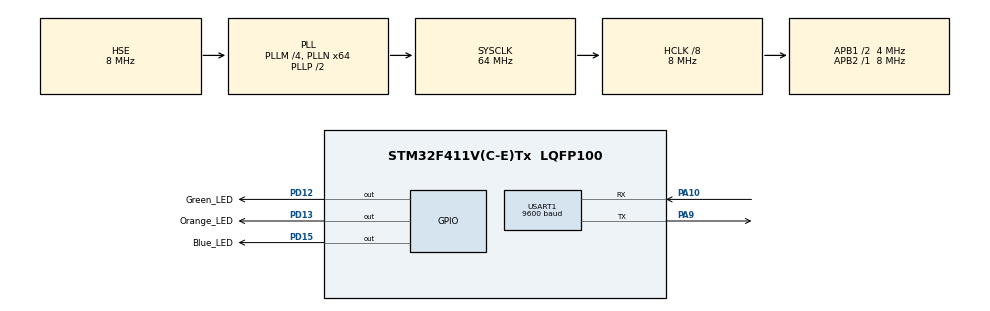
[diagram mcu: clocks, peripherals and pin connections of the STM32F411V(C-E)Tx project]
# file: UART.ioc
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Mcu.Family=STM32F4
Mcu.Name=STM32F411V(C-E)Tx
Mcu.Package=LQFP100
NVIC.PriorityGroup=NVIC_PRIORITYGROUP_4
NVIC.USART1_IRQn=true\:15\:0\:true\:false\:true\:true\:true\:true
PA10.Mode=Asynchronous
PA10.Signal=USART1_RX
PA13.Mode=Serial_Wire
PA13.Signal=SYS_JTMS-SWDIO
PA14.Mode=Serial_Wire
PA14.Signal=SYS_JTCK-SWCLK
PA9.Mode=Asynchronous
PA9.Signal=USART1_TX
PD12.GPIO_Label=Green_LED
PD12.Signal=GPIO_Output
PD13.GPIO_Label=Orange_LED
PD13.Signal=GPIO_Output
PD15.GPIO_Label=Blue_LED
PD15.Signal=GPIO_Output
PH0\ -\ OSC_IN.Mode=HSE-External-Oscillator
PH0\ -\ OSC_IN.Signal=RCC_OSC_IN
PH1\ -\ OSC_OUT.Mode=HSE-External-Oscillator
PH1\ -\ OSC_OUT.Signal=RCC_OSC_OUT
ProjectManager.HeapSize=0x200
ProjectManager.StackSize=0x400
ProjectManager.TargetToolchain=STM32CubeIDE
RCC.48MHZClocksFreq_Value=32000000
RCC.AHBCLKDivider=RCC_SYSCLK_DIV8
RCC.AHBFreq_Value=8000000
RCC.APB1CLKDivider=RCC_HCLK_DIV2
RCC.APB1Freq_Value=4000000
RCC.APB1TimFreq_Value=8000000
RCC.APB2Freq_Value=8000000
RCC.APB2TimFreq_Value=8000000
RCC.CortexFreq_Value=8000000
RCC.HCLKFreq_Value=8000000
RCC.HSE_VALUE=8000000
RCC.HSI_VALUE=16000000
RCC.LSE_VALUE=32768
RCC.PLLM=4
RCC.PLLN=64
RCC.PLLSourceVirtual=RCC_PLLSOURCE_HSE
RCC.SYSCLKFreq_VALUE=64000000
RCC.SYSCLKSource=RCC_SYSCLKSOURCE_PLLCLK
RCC.VCOOutputFreq_Value=128000000
USART1.BaudRate=9600
USART1.Mode=MODE_TX_RX
USART1.VirtualMode=VM_ASYNC
board=custom

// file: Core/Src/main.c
/* USER CODE BEGIN Header */
/**
  ******************************************************************************
  * @file           : main.c
  * @brief          : Main program body
  ******************************************************************************
  * @attention
  *
  * Copyright (c) 2023 STMicroelectronics.
  * All rights reserved.
  *
  * This software is licensed under terms that can be found in the LICENSE file
  * in the root directory of this software component.
  * If no LICENSE file comes with this software, it is provided AS-IS.
  *
  ******************************************************************************
  */
/* USER CODE END Header */
#include "main.h"

UART_HandleTypeDef huart1;

/* USER CODE BEGIN PV */
uint8_t command;
/* USER CODE END PV */

void SystemClock_Config(void);
static void MX_GPIO_Init(void);
static void MX_USART1_UART_Init(void);
/* USER CODE BEGIN PFP */
//void HAL_Delay(int time);

void blinkBlue();
void blinkGreen();
void blinkOrange();

void onBlue();
void onGreen();
void onOrange();

void offBlue();
void offGreen();
void offOrange();
/* USER CODE END PFP */

int main(void)
{

  /* MCU Configuration--------------------------------------------------------*/

  /* Reset of all peripherals, Initializes the Flash interface and the Systick. */
  HAL_Init();

  /* Configure the system clock */
  SystemClock_Config();

  /* USER CODE BEGIN SysInit */
  //HAL_InitTick(TICK_INT_PRIORITY);
  SysTick_Config(SystemCoreClock/1000);
  HAL_NVIC_SetPriority(SysTick_IRQn, 0, 0U);
  /* USER CODE END SysInit */

  /* Initialize all configured peripherals */
  MX_GPIO_Init();
  MX_USART1_UART_Init();

  /* Infinite loop */
  while (1)
  {
    /* USER CODE BEGIN 3 */
	HAL_UART_Receive_IT(&huart1, &command, 1);
  }
  /* USER CODE END 3 */
}

void SystemClock_Config(void)
{
  RCC_OscInitTypeDef RCC_OscInitStruct = {0};
  RCC_ClkInitTypeDef RCC_ClkInitStruct = {0};

  /** Configure the main internal regulator output voltage
  */
  __HAL_RCC_PWR_CLK_ENABLE();
  __HAL_PWR_VOLTAGESCALING_CONFIG(PWR_REGULATOR_VOLTAGE_SCALE1);

  /** Initializes the RCC Oscillators according to the specified parameters
  * in the RCC_OscInitTypeDef structure.
  */
  RCC_OscInitStruct.OscillatorType = RCC_OSCILLATORTYPE_HSE;
  RCC_OscInitStruct.HSEState = RCC_HSE_ON;
  RCC_OscInitStruct.PLL.PLLState = RCC_PLL_ON;
  RCC_OscInitStruct.PLL.PLLSource = RCC_PLLSOURCE_HSE;
  RCC_OscInitStruct.PLL.PLLM = 4;
  RCC_OscInitStruct.PLL.PLLN = 64;
  RCC_OscInitStruct.PLL.PLLP = RCC_PLLP_DIV2;
  RCC_OscInitStruct.PLL.PLLQ = 4;
  if (HAL_RCC_OscConfig(&RCC_OscInitStruct) != HAL_OK)
  {
    Error_Handler();
  }

  /** Initializes the CPU, AHB and APB buses clocks
  */
  RCC_ClkInitStruct.ClockType = RCC_CLOCKTYPE_HCLK|RCC_CLOCKTYPE_SYSCLK
                              |RCC_CLOCKTYPE_PCLK1|RCC_CLOCKTYPE_PCLK2;
  RCC_ClkInitStruct.SYSCLKSource = RCC_SYSCLKSOURCE_PLLCLK;
  RCC_ClkInitStruct.AHBCLKDivider = RCC_SYSCLK_DIV8;
  RCC_ClkInitStruct.APB1CLKDivider = RCC_HCLK_DIV2;
  RCC_ClkInitStruct.APB2CLKDivider = RCC_HCLK_DIV1;

  if (HAL_RCC_ClockConfig(&RCC_ClkInitStruct, FLASH_LATENCY_0) != HAL_OK)
  {
    Error_Handler();
  }
}

static void MX_USART1_UART_Init(void)
{

  huart1.Instance = USART1;
  huart1.Init.BaudRate = 9600;
  huart1.Init.WordLength = UART_WORDLENGTH_8B;
  huart1.Init.StopBits = UART_STOPBITS_1;
  huart1.Init.Parity = UART_PARITY_NONE;
  huart1.Init.Mode = UART_MODE_TX_RX;
  huart1.Init.HwFlowCtl = UART_HWCONTROL_NONE;
  huart1.Init.OverSampling = UART_OVERSAMPLING_16;
  if (HAL_UART_Init(&huart1) != HAL_OK)
  {
    Error_Handler();
  }

}

static void MX_GPIO_Init(void)
{
  GPIO_InitTypeDef GPIO_InitStruct = {0};

  /* GPIO Ports Clock Enable */
  __HAL_RCC_GPIOH_CLK_ENABLE();
  __HAL_RCC_GPIOD_CLK_ENABLE();
  __HAL_RCC_GPIOA_CLK_ENABLE();

  /*Configure GPIO pin Output Level */
  HAL_GPIO_WritePin(GPIOD, Green_LED_Pin|Orange_LED_Pin|Blue_LED_Pin, GPIO_PIN_RESET);

  /*Configure GPIO pins : Green_LED_Pin Orange_LED_Pin Blue_LED_Pin */
  GPIO_InitStruct.Pin = Green_LED_Pin|Orange_LED_Pin|Blue_LED_Pin;
  GPIO_InitStruct.Mode = GPIO_MODE_OUTPUT_PP;
  GPIO_InitStruct.Pull = GPIO_NOPULL;
  GPIO_InitStruct.Speed = GPIO_SPEED_FREQ_LOW;
  HAL_GPIO_Init(GPIOD, &GPIO_InitStruct);

}

/* USER CODE BEGIN 4 */
void HAL_UART_RxCpltCallback(UART_HandleTypeDef *huart){

	if (huart -> Instance == USART1){

		switch (command) {

			case 'v':
		        blinkBlue();
		        break;

		    case 'f':
		        blinkGreen();
		        break;

		    case 'i':
		        blinkOrange();
		        break;

		    case 'b':
		        onBlue();
		        break;

		    case 'g':
		        onGreen();
		        break;

		    case 'o':
		        onOrange();
		        break;

		    case 'n':
		        offBlue();
		        break;

		    case 'h':
		        offGreen();
		        break;

		    case 'p':
		        offOrange();
		        break;

		    default:
		        break;
		}
	}
}
/*
volatile uint32_t timer_ms = 0;

void SysTick_Handler()
{
	HAL_IncTick();

	if (timer_ms) {
		timer_ms--;
	}
}

void HAL_Delay(int time)
{
	timer_ms = time;
	while (timer_ms) {};
}*/

void blinkBlue(){

	for (int i = 1; i <= 20; i++) {

		HAL_GPIO_TogglePin(Blue_LED_GPIO_Port, Blue_LED_Pin);
		HAL_Delay(500);
	}
}

void blinkGreen(){

	for (int i = 1; i <= 20; i++) {

		HAL_GPIO_TogglePin(Green_LED_GPIO_Port, Green_LED_Pin);
		HAL_Delay(500);
	}
}

void blinkOrange(){

	for (int i = 1; i <= 20; i++) {

		HAL_GPIO_TogglePin(Orange_LED_GPIO_Port, Orange_LED_Pin);
		HAL_Delay(500);
	}
}

void onBlue(){
	HAL_GPIO_WritePin(Blue_LED_GPIO_Port, Blue_LED_Pin, GPIO_PIN_SET);
}

void onGreen(){
	HAL_GPIO_WritePin(Green_LED_GPIO_Port, Green_LED_Pin, GPIO_PIN_SET);
}

void onOrange(){
	HAL_GPIO_WritePin(Orange_LED_GPIO_Port, Orange_LED_Pin, GPIO_PIN_SET);
}

void offBlue(){
	HAL_GPIO_WritePin(Blue_LED_GPIO_Port, Blue_LED_Pin, GPIO_PIN_RESET);
}

void offGreen(){
	HAL_GPIO_WritePin(Green_LED_GPIO_Port, Green_LED_Pin, GPIO_PIN_RESET);
}

void offOrange(){
	HAL_GPIO_WritePin(Orange_LED_GPIO_Port, Orange_LED_Pin, GPIO_PIN_RESET);
}

/* USER CODE END 4 */

void Error_Handler(void)
{
  __disable_irq();
  while (1)
  {
  }
}
